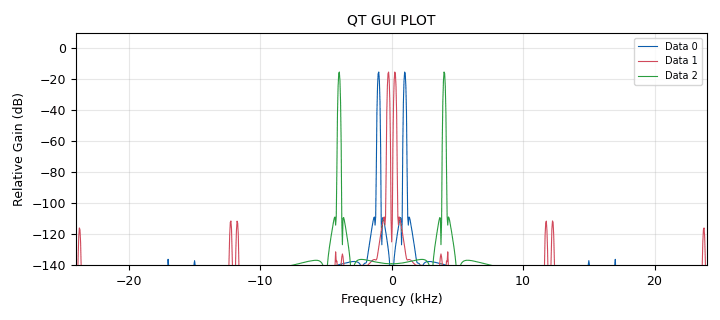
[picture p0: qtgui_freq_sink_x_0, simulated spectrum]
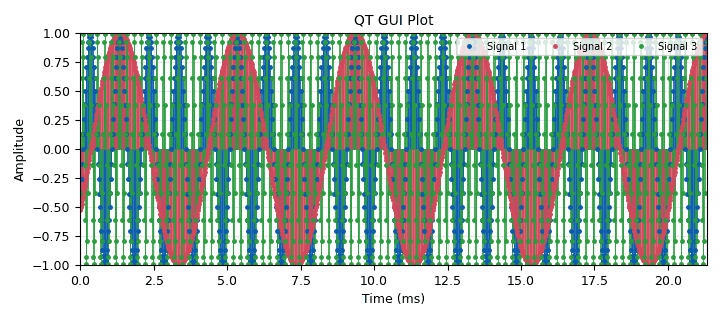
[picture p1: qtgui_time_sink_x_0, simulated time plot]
options:
  parameters:
    author: Fredy
    generate_options: qt_gui
    id: Lab_1_2
    output_language: python
    title: Tutotial_two
  states: {}

blocks:
- name: freq
  id: variable_qtgui_range
  parameters:
    label: Frecuencia
    start: '1000'
    step: '1000'
    stop: '40000'
    value: '1000'
  states: {}
- name: samp_rate
  id: variable
  parameters:
    value: '48000'
  states: {}
- name: analog_sig_source_x_0
  id: analog_sig_source_x
  parameters:
    amp: '1'
    freq: freq
    offset: '0'
    phase: '0'
    samp_rate: samp_rate
    type: float
    waveform: analog.GR_COS_WAVE
  states: {}
- name: analog_sig_source_x_0_0
  id: analog_sig_source_x
  parameters:
    amp: '1'
    freq: freq
    offset: '0'
    phase: '0'
    samp_rate: samp_rate
    type: float
    waveform: analog.GR_COS_WAVE
  states: {}
- name: analog_sig_source_x_0_1
  id: analog_sig_source_x
  parameters:
    amp: '1'
    freq: freq
    offset: '0'
    phase: '0'
    samp_rate: samp_rate
    type: float
    waveform: analog.GR_COS_WAVE
  states: {}
- name: blocks_throttle_0
  id: blocks_throttle
  parameters:
    samples_per_second: samp_rate
    type: float
  states: {}
- name: qtgui_freq_sink_x_0
  id: qtgui_freq_sink_x
  parameters:
    average: '0.1'
    bw: samp_rate
    fc: '0'
    fftsize: '1024'
    name: '"QT GUI PLOT"'
    nconnections: '3'
    type: float
  states: {}
- name: qtgui_time_sink_x_0
  id: qtgui_time_sink_x
  parameters:
    name: '"QT GUI Plot"'
    nconnections: '3'
    size: '1024'
    srate: samp_rate
    stemplot: 'True'
    type: float
  states: {}
- name: rational_resampler_xxx_0
  id: rational_resampler_xxx
  parameters:
    decim: '1'
    interp: '1'
    type: fff
  states: {}
- name: rational_resampler_xxx_0_0
  id: rational_resampler_xxx
  parameters:
    decim: '4'
    interp: '1'
    type: fff
  states: {}
- name: rational_resampler_xxx_0_0_0
  id: rational_resampler_xxx
  parameters:
    decim: '1'
    interp: '4'
    type: fff
  states: {}

connections:
- [analog_sig_source_x_0, '0', rational_resampler_xxx_0, '0']
- [analog_sig_source_x_0_0, '0', rational_resampler_xxx_0_0, '0']
- [analog_sig_source_x_0_1, '0', rational_resampler_xxx_0_0_0, '0']
- [blocks_throttle_0, '0', qtgui_freq_sink_x_0, '0']
- [blocks_throttle_0, '0', qtgui_time_sink_x_0, '0']
- [rational_resampler_xxx_0, '0', blocks_throttle_0, '0']
- [rational_resampler_xxx_0_0, '0', qtgui_freq_sink_x_0, '2']
- [rational_resampler_xxx_0_0, '0', qtgui_time_sink_x_0, '2']
- [rational_resampler_xxx_0_0_0, '0', qtgui_freq_sink_x_0, '1']
- [rational_resampler_xxx_0_0_0, '0', qtgui_time_sink_x_0, '1']

metadata:
  file_format: 1
